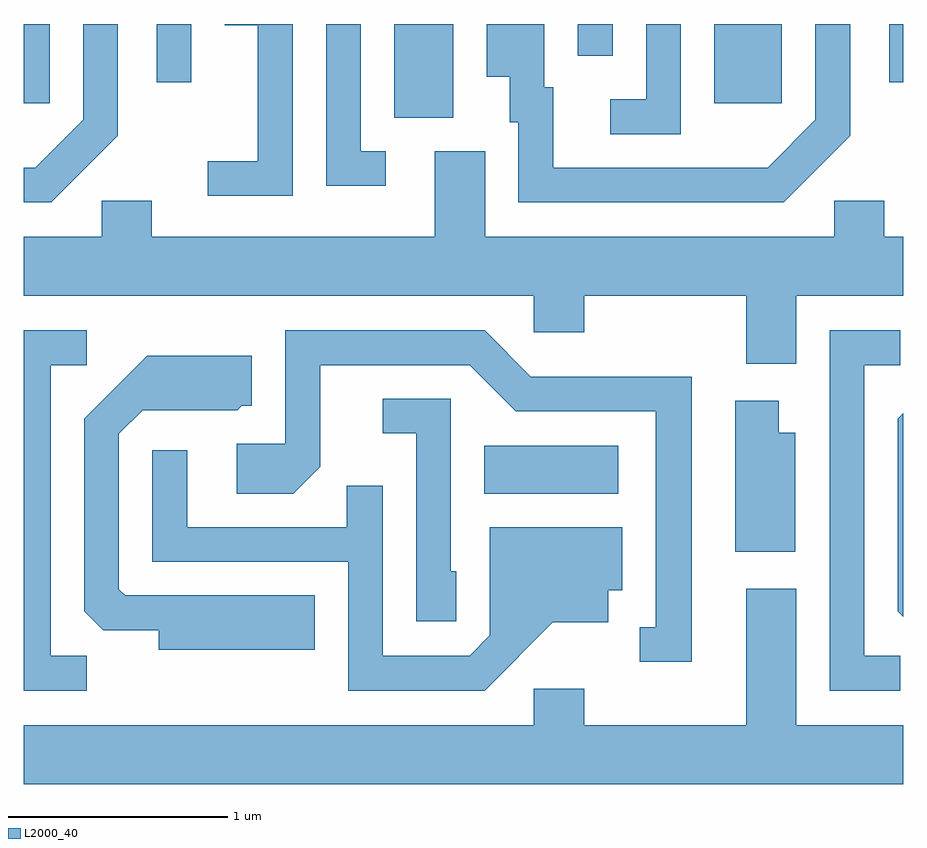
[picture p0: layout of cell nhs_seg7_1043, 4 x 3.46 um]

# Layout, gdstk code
import gdstk
lib = gdstk.Library(unit=1e-6, precision=1e-09)
def R(c, l, rs):  # rectangles x0, y0, x1, y1
    for r in rs: c.add(gdstk.rectangle(r[:2], r[2:], *l))
def P(c, l, *ps):  # polygons
    for p in ps: c.add(gdstk.Polygon(p, *l))
L2000_40 = (2000, 40)

nhs_seg7_1043 = lib.new_cell('nhs_seg7_1043')
R(nhs_seg7_1043, L2000_40, [(219.706,1680.116,220.314,1680.334), (219.296,1681.826,219.564,1682.252), (217.611,1681.891,217.729,1682.252), (220.751,1681.891,221.059,1682.252), (218.216,1681.988,218.374,1682.252), (221.546,1681.988,221.611,1682.252), (220.131,1682.108,220.289,1682.252)])
P(nhs_seg7_1043, L2000_40, [(218.039,1681.744),(218.039,1682.252),(217.881,1682.252),(217.881,1681.817),(217.664,1681.599),(217.611,1681.599),(217.611,1681.441),(217.737,1681.441)],
  [(219.258,1681.674),(219.144,1681.674),(219.144,1682.252),(218.986,1682.252),(218.986,1681.516),(219.258,1681.516)],
  [(220.599,1682.252),(220.441,1682.252),(220.441,1681.909),(220.278,1681.909),(220.278,1681.751),(220.599,1681.751)],
  [(221.369,1681.744),(221.369,1682.252),(221.211,1682.252),(221.211,1681.817),(220.994,1681.599),(220.019,1681.599),(220.019,1681.964),(219.979,1681.964),(219.979,1682.252),(219.716,1682.252),(219.716,1682.011),(219.821,1682.011),(219.821,1681.806),(219.861,1681.806),(219.861,1681.441),(221.067,1681.441)],
  [(218.834,1682.252),(218.526,1682.252),(218.526,1682.246),(218.676,1682.246),(218.676,1681.629),(218.448,1681.629),(218.448,1681.471),(218.834,1681.471)],
  [(221.124,1681.016),(221.611,1681.016),(221.611,1681.284),(221.524,1681.284),(221.524,1681.449),(221.296,1681.449),(221.296,1681.284),(219.709,1681.284),(219.709,1681.674),(219.481,1681.674),(219.481,1681.284),(218.194,1681.284),(218.194,1681.449),(217.966,1681.449),(217.966,1681.284),(217.611,1681.284),(217.611,1681.016),(219.931,1681.016),(219.931,1680.851),(220.159,1680.851),(220.159,1681.016),(220.896,1681.016),(220.896,1680.706),(221.124,1680.706)],
  [(217.898,1679.379),(217.734,1679.379),(217.734,1680.701),(217.898,1680.701),(217.898,1680.859),(217.611,1680.859),(217.611,1679.221),(217.898,1679.221)],
  [(221.598,1679.379),(221.434,1679.379),(221.434,1680.701),(221.598,1680.701),(221.598,1680.859),(221.276,1680.859),(221.276,1679.221),(221.598,1679.221)],
  [(220.649,1680.649),(219.917,1680.649),(219.707,1680.859),(218.801,1680.859),(218.801,1680.344),(218.581,1680.344),(218.581,1680.116),(218.837,1680.116),(218.959,1680.239),(218.959,1680.701),(219.639,1680.701),(219.849,1680.491),(220.486,1680.491),(220.486,1679.509),(220.413,1679.509),(220.413,1679.351),(220.649,1679.351)],
  [(218.934,1679.654),(218.072,1679.654),(218.044,1679.682),(218.044,1680.389),(218.152,1680.496),(218.582,1680.496),(218.602,1680.516),(218.649,1680.516),(218.649,1680.744),(218.174,1680.744),(217.886,1680.457),(217.886,1679.582),(217.972,1679.496),(218.226,1679.496),(218.226,1679.406),(218.934,1679.406)],
  [(219.579,1679.764),(219.554,1679.764),(219.554,1680.549),(219.243,1680.549),(219.243,1680.391),(219.396,1680.391),(219.396,1679.536),(219.579,1679.536)],
  [(221.119,1680.394),(221.044,1680.394),(221.044,1680.539),(220.846,1680.539),(220.846,1679.851),(221.119,1679.851)],
  [(221.611,1680.482),(221.586,1680.457),(221.586,1679.582),(221.611,1679.557)],
  [(220.017,1679.531),(220.269,1679.531),(220.269,1679.676),(220.334,1679.676),(220.334,1679.964),(219.731,1679.964),(219.731,1679.472),(219.639,1679.379),(219.244,1679.379),(219.244,1680.153),(219.081,1680.153),(219.081,1679.964),(218.354,1679.964),(218.354,1680.313),(218.196,1680.313),(218.196,1679.806),(219.086,1679.806),(219.086,1679.221),(219.707,1679.221)],
  [(221.611,1679.064),(221.124,1679.064),(221.124,1679.684),(220.896,1679.684),(220.896,1679.064),(220.159,1679.064),(220.159,1679.229),(219.931,1679.229),(219.931,1679.064),(217.611,1679.064),(217.611,1678.796),(221.611,1678.796)])

lib.write_gds('nhs_seg7_1043.gds')
